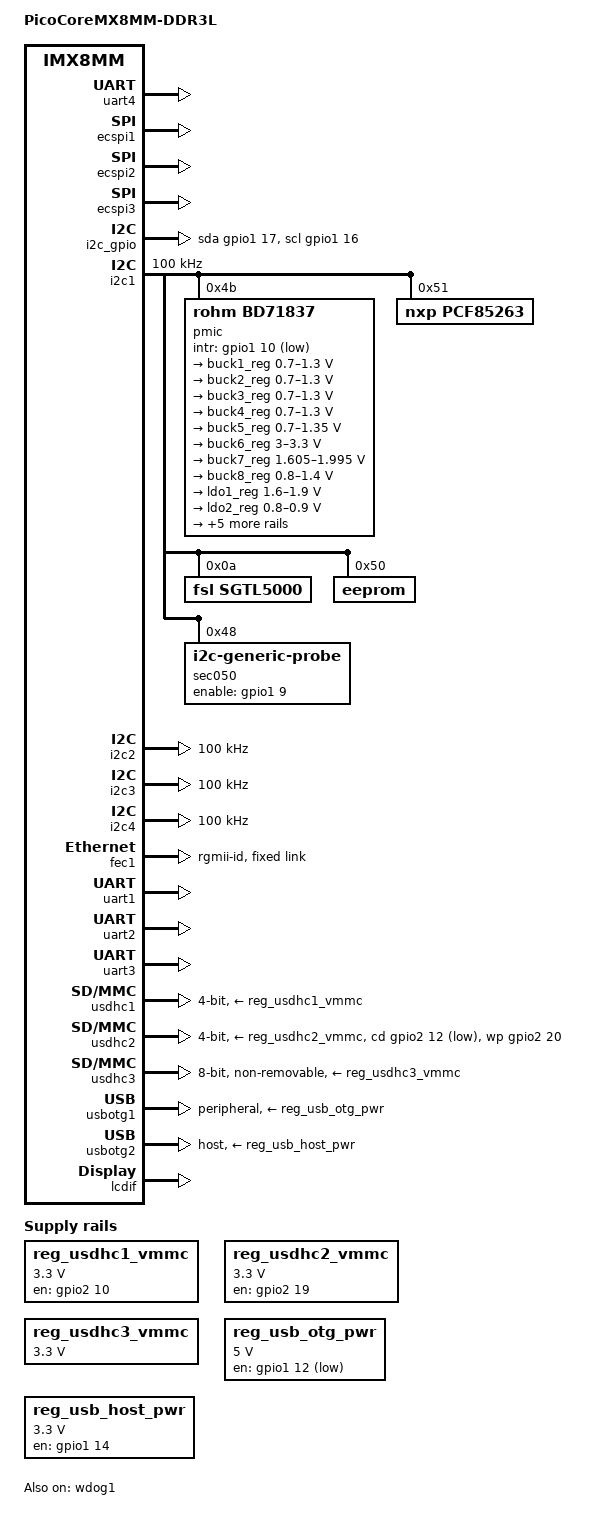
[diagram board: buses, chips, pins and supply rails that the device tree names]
/*
* Copyright 2019-2020 F&S Elektronik Systeme GmbH
*
* This program is free software; you can redistribute it and/or
* modify it under the terms of the GNU General Public License
* as published by the Free Software Foundation; either version 2
* of the License, or (at your option) any later version.
*
* This program is distributed in the hope that it will be useful,
* but WITHOUT ANY WARRANTY; without even the implied warranty of
* MERCHANTABILITY or FITNESS FOR A PARTICULAR PURPOSE.  See the
* GNU General Public License for more details.
*
* Remark:
* CONFIG names use "PICOCOREMX8MX" because this is the marking on the PCB.
* This will make it easier to merge the two device trees picocoremx8mm-ddr3l
* and picocoremx8mn-ddr3l in the future.
*/

/dts-v1/;

/* Set board revision as 3-digit number, e.g. 110 for board rev. 1.10 */
#define CONFIG_PICOCOREMX8MX_BOARD_REVISION	120

 /* Network */
/* Use FIXED_SPEED and LEGACY_ETH for now */
#define CONFIG_PICOCOREMX8MX_ETH

/* USB */
#define CONFIG_PICOCOREMX8MX_USB_OTG1
#define CONFIG_PICOCOREMX8MX_USB_HOST

/* I2C */
#define CONFIG_PICOCOREMX8MX_I2C_A
#define CONFIG_PICOCOREMX8MX_I2C_B
#define CONFIG_PICOCOREMX8MX_I2C_C
#define CONFIG_PICOCOREMX8MX_I2C_D

/* SPI */
#define CONFIG_PICOCOREMX8MX_SPI_A
#define CONFIG_PICOCOREMX8MX_SPI_B
#define CONFIG_PICOCOREMX8MX_SPI_C

/* UART_A - UART1 */
#define CONFIG_PICOCOREMX8MX_UART_A
#define CONFIG_PICOCOREMX8MX_UART_A_RTSCTS
#define CONFIG_PICOCOREMX8MX_UART_B
#define CONFIG_PICOCOREMX8MX_UART_C
#define CONFIG_PICOCOREMX8MX_UART_D


/*
 * SD_A - External SD port with Card Detect (CD) and Write Protect (WP)
 * On PicoCoreMX8MM SKIT: external port is Micro-SD card slot with CD but without WP
 */
#define CONFIG_PICOCOREMX8MX_SD_A
#define CONFIG_PICOCOREMX8MX_SD_A_CD
//#define CONFIG_PICOCOREMX8MX_SD_A_WP

/*
 * SD_B - External SD port with Card Detect (CD) and Write Protect (WP)
 * Not connected on PicoCoreMX8MM SKIT
 */
#define CONFIG_PICOCOREMX8MX_SD_B
#define CONFIG_PICOCOREMX8MX_SD_B_CD
#define CONFIG_PICOCOREMX8MX_SD_B_WP

/* TODO: Power polarity can't be set by DT
*  Default its low for both ports. Use regulator
*  to set pin value to correct state.
*/
/* USB0:
*  Enable regulator to activate
*  power pin for otg host devices.
*/
#define CONFIG_USB_OTG_PWR
/* USB1:
*  Enable regulator to activate power pin
*  for USB Hub.
*/
#define CONFIG_USB_HOST_PWR

#include "fsl-imx8mm.dtsi"

/ {
	model = "PicoCoreMX8MM-DDR3L";
	compatible = "fus,picocoremx8mm-ddr3l", "fsl,imx8mm";

	aliases {
		i2c4 = &i2c_gpio;
		emmc = &usdhc3;
		serial3 = &uart4;
		spi2 = &ecspi2;
	};

	config {
		/* Environment in NAND must match UBootEnv MTD partition */
		u-boot,nand-env-range = <0x00040000>;
		u-boot,nand-env-offset = <0x480000>;
		u-boot,nand-env-offset-redundant = <0x4c0000>;

		/* Environment in MMC is in a Boot partition by default */
		u-boot,mmc-env-offset = <0x100000>;
		u-boot,mmc-env-offset-redundant = <0x104000>;
	};

	chosen {
		bootargs = "console=ttymxc0,115200 earlycon=ec_imx6q,0x30860000,115200";
		stdout-path = &uart1;
	};

#ifdef CONFIG_PICOCOREMX8MX_SD_A
	reg_usdhc1_vmmc: regulator-usdhc1 {
		compatible = "regulator-fixed";
		regulator-name = "VSD1_3V3";
		regulator-min-microvolt = <3300000>;
		regulator-max-microvolt = <3300000>;
		gpio = <&gpio2 10 GPIO_ACTIVE_HIGH>;
		enable-active-high;
		startup-delay-us = <100>;
		off-on-delay-us = <12000>;
	};
#endif

#ifdef CONFIG_PICOCOREMX8MX_SD_B
	reg_usdhc2_vmmc: regulator-usdhc2 {
		compatible = "regulator-fixed";
		regulator-name = "VSD2_3V3";
		regulator-min-microvolt = <3300000>;
		regulator-max-microvolt = <3300000>;
		gpio = <&gpio2 19 GPIO_ACTIVE_HIGH>;
		enable-active-high;
		startup-delay-us = <100>;
		off-on-delay-us = <12000>;
	};
#endif

	reg_usdhc3_vmmc: regulator-usdhc3 {
		compatible = "regulator-fixed";
		regulator-name = "VSD3_3V3";
		regulator-min-microvolt = <3300000>;
		regulator-max-microvolt = <3300000>;
		regulator-always-on;
#if 0
		gpio = <&gpio3 16 GPIO_ACTIVE_HIGH>;
		enable-active-high;
		startup-delay-us = <100>;
		off-on-delay-us = <12000>;
#endif
	};

	regulators {
		compatible = "simple-bus";
		#address-cells = <1>;
		#size-cells = <0>;

		#ifdef CONFIG_USB_OTG_PWR
		reg_usb_otg_pwr: regulator-usbotg1 {
			pinctrl-names = "default";
			pinctrl-0 = <&pinctrl_usbotg1>;
			compatible = "regulator-fixed";
			regulator-name = "usb_otg_pwr";
			regulator-min-microvolt = <5000000>;
			regulator-max-microvolt = <5000000>;
			gpio = <&gpio1 12 GPIO_ACTIVE_LOW>;
			startup-delay-us = <100>;
			off-on-delay-us = <12000>;
		};
		#endif
		#ifdef CONFIG_USB_HOST_PWR
		reg_usb_host_pwr: regulator-usbotg2 {
			pinctrl-names = "default";
			pinctrl-0 = <&pinctrl_usbotg2>;
			compatible = "regulator-fixed";
			regulator-name = "usb_host_pwr";
			regulator-min-microvolt = <3300000>;
			regulator-max-microvolt = <3300000>;
			gpio = <&gpio1 14 GPIO_ACTIVE_HIGH>;
			enable-active-high;
		};
		#endif
	};
#ifdef CONFIG_PICOCOREMX8MX_UART_C
	uart4: serial@30a60000 {
		compatible = "fsl,imx8mm-uart",
			     "fsl,imx6q-uart", "fsl,imx21-uart";
		reg = <0x0 0x30a60000 0x0 0x10000>;
		interrupts = <GIC_SPI 29 IRQ_TYPE_LEVEL_HIGH>;
		interrupt-parent = <&gpc>;
		clocks = <&clk IMX8MM_CLK_UART4_ROOT>,
			 <&clk IMX8MM_CLK_UART4_ROOT>;
		clock-names = "ipg", "per";
		status = "disabled";
	};
#endif

#ifdef CONFIG_PICOCOREMX8MX_SPI_A
	ecspi1: spi@30820000 {
		compatible = "fsl,imx8mm-ecspi", "fsl,imx51-ecspi";
		reg = <0x0 0x30820000 0x0 0x10000>;
		interrupts = <GIC_SPI 31 IRQ_TYPE_LEVEL_HIGH>;
		clocks = <&clk IMX8MM_CLK_ECSPI1_ROOT>,
			 <&clk IMX8MM_CLK_ECSPI1_ROOT>;
		clock-names = "ipg", "per";
		status = "disabled";
	};
#endif
#ifdef CONFIG_PICOCOREMX8MX_SPI_C
	ecspi2: spi@30830000 {
		compatible = "fsl,imx8mm-ecspi", "fsl,imx51-ecspi";
		reg = <0x0 0x30830000 0x0 0x10000>;
		interrupts = <GIC_SPI 32 IRQ_TYPE_LEVEL_HIGH>;
		clocks = <&clk IMX8MM_CLK_ECSPI2_ROOT>,
			 <&clk IMX8MM_CLK_ECSPI2_ROOT>;
		clock-names = "ipg", "per";
		status = "disabled";
	};
#endif

#ifdef CONFIG_PICOCOREMX8MX_SPI_B
	ecspi3: spi@30840000 {
		compatible = "fsl,imx8mm-ecspi", "fsl,imx51-ecspi";
		reg = <0x0 0x30840000 0x0 0x10000>;
		interrupts = <GIC_SPI 33 IRQ_TYPE_LEVEL_HIGH>;
		clocks = <&clk IMX8MM_CLK_ECSPI3_ROOT>,
			 <&clk IMX8MM_CLK_ECSPI3_ROOT>;
		clock-names = "ipg", "per";
		status = "disabled";
	};
#endif


	/* Internal I2C (bitbanging) */
	i2c_gpio: i2c_gpio {
		#address-cells = <1>;
		#size-cells = <0>;

		pinctrl-names = "default";
		pinctrl-0 = <&pinctrl_i2c_gpio>;
		compatible = "i2c-gpio";
		gpios = <&gpio1 17 0 /* sda */
			 &gpio1 16 0 /* scl */
			>;
		i2c-gpio,delay-us = <2>;	/* ~100 kHz */
		status = "okay";
	};
};

#ifdef CONFIG_PICOCOREMX8MX_SPI_A
&ecspi1 {
	pinctrl-names = "gpiotest";
	pinctrl-0 = <&pinctrl_ecspi1_gpio>;
	/* cs-gpios must be declared */
	cs-gpios = <&gpio5 9 GPIO_ACTIVE_HIGH>;
	out-pins = "SPI_A_MISO", "SPI_A_SS0";
	out-gpios = <&gpio5 8 0>, <&gpio5 9 0>;
	in-pins = "SPI_A_MOSI", "SPI_A_SCLK";
	in-gpios = <&gpio5 7 0>, <&gpio5 6 0>;
	status = "okay";
};
#endif

#ifdef CONFIG_PICOCOREMX8MX_SPI_B
&ecspi3 {
	pinctrl-names = "gpiotest";
	pinctrl-0 = <&pinctrl_ecspi3_gpio>;
	cs-gpios = <&gpio5 22 GPIO_ACTIVE_HIGH>;
	out-pins = "SPI_B_MISO", "SPI_B_SS0";
	out-gpios = <&gpio5 24 0>, <&gpio5 22 0>;
	in-pins = "SPI_B_MOSI", "SPI_B_SCLK";
	in-gpios = <&gpio5 23 0>, <&gpio5 25 0>;
	status = "okay";
};
#endif

#ifdef CONFIG_PICOCOREMX8MX_SPI_C
&ecspi2 {
	pinctrl-names = "default", "gpiotest", "gpiotest-fert7", "gpiotest-fert8";
	pinctrl-0 = <&pinctrl_ecspi2>;
	pinctrl-1 = <&pinctrl_ecspi2_gpio>;
	pinctrl-2 = <&pinctrl_ecspi2_gpio_fert7>;
	pinctrl-3 = <&pinctrl_ecspi2_gpio_fert8>;
	fsl,spi-num-chipselects = <1>;

	cs-gpios = <&gpio5 13 GPIO_ACTIVE_HIGH>;
	spi-max-frequency = <1000000>;
	status = "okay";

	out-pins = "SPI_C_SS0", "SPI_C_MOSI";
	out-gpios = <&gpio5 13 0>, <&gpio5 11 0>;
	in-pins = "SPI_C_MISO", "SPI_C_SCLK";
	in-gpios = <&gpio5 12 0>, <&gpio5 10 0>;

	out-pins-fert7 = "SPI_C_SS0", "SPI_C_MOSI", "PWM", "GPIO_J2_73";
	out-gpios-fert7 = <&gpio5 13 0>, <&gpio5 11 0>, <&gpio5 5 0>, <&gpio4 26 0>;
	in-pins-fert7 = "SPI_C_MISO", "SPI_C_SCLK", "GPIO_J2_69", "GPIO_J2_75";
	in-gpios-fert7 = <&gpio5 12 0>, <&gpio5 10 0>, <&gpio4 25 0>, <&gpio4 28 0>;

	out-pins-fert8 = "SPI_C_SS0", "SPI_C_MOSI", "PWM", "GPIO_J2_73";
	out-gpios-fert8 = <&gpio5 13 0>, <&gpio5 11 0>, <&gpio5 5 0>, <&gpio4 26 0>;
	in-pins-fert8 = "SPI_C_MISO", "SPI_C_SCLK", "GPIO_J2_69", "GPIO_J2_75";
	in-gpios-fert8 = <&gpio5 12 0>, <&gpio5 10 0>, <&gpio4 25 0>, <&gpio4 28 0>;

	can-spi-mcp251x;
	cs = <0x0>;
};
#endif

&gpio1 {
	pinctrl-names = "gpiotest","gpiotest-fert7","gpiotest-fert8";
	pinctrl-0 = <&pinctrl_gpio1>;
	pinctrl-0 = <&pinctrl_gpio1_fert7>;
	pinctrl-0 = <&pinctrl_gpio1_fert8>;

	out-pins = "GPIO_J1_2", "BL_ON", "MPCIE_PERST", "PWM", "GPIO_J2_75", "GPIO_J2_65", "GPIO_J2_77";
	out-gpios = <&gpio1 13 0>, <&gpio5 3 0>, <&gpio3 19 0>, <&gpio5 5 0>, <&gpio4 2 0>, <&gpio4 20 0>, <&gpio4 0 0>;
	in-pins = "GPIO_J1_7", "VLCD_ON", "MPCIE_WAKE", "GPIO_J2_69", "GPIO_J2_73", "GPIO_J2_67", "GPIO_J2_79";
	in-gpios = <&gpio1 1 0>, <&gpio5 1 0>, <&gpio3 20 0>, <&gpio4 11 0>, <&gpio4 12 0>, <&gpio4 10 0> ,<&gpio4 1 0>;

	out-pins-fert7 = "GPIO_J1_2", "BL_ON", "MPCIE_PERST";
	out-gpios-fert7 = <&gpio1 13 0>, <&gpio5 3 0>, <&gpio3 19 0>;
	in-pins-fert7 = "GPIO_J1_7", "VLCD_ON", "MPCIE_WAKE";
	in-gpios-fert7 = <&gpio1 1 0>, <&gpio5 1 0>, <&gpio3 20 0>;

	out-pins-fert8 = "GPIO_J1_2", "BL_ON", "MPCIE_PERST";
	out-gpios-fert8 = <&gpio1 13 0>, <&gpio5 3 0>, <&gpio3 19 0>;
	in-pins-fert8 = "GPIO_J1_7", "VLCD_ON", "MPCIE_WAKE";
	in-gpios-fert8 = <&gpio1 1 0>, <&gpio5 1 0>, <&gpio3 20 0>;

	status = "okay";
};

&gpio2 {
	pinctrl-names = "gpiotest";
	pinctrl-0 = <&pinctrl_gpio2>;
	out-pins = "GPIO_J1_54";
	out-gpios = <&gpio1 15 0>;
	in-pins = "GPIO_J1_52";
	in-gpios = <&gpio1 8 0>;
	status = "okay";

	mipi-gpios-only;
};

&gpio3 {
	pinctrl-names = "gpiotest";
	pinctrl-0 = <&pinctrl_gpio3>;
	out-pins = "GPIO_J2_77";
	out-gpios = <&gpio4 0 0>;
	in-pins = "GPIO_J2_79";
	in-gpios = <&gpio4 1 0>;
	status = "okay";

	lvds-gpios-only;
};


#ifdef CONFIG_PICOCOREMX8MX_I2C_D
&i2c1 {
	clock-frequency = <100000>;
	pinctrl-names = "default", "gpiotest";
	pinctrl-0 = <&pinctrl_i2c1>;
	pinctrl-1 = <&pinctrl_sgtl5000_gpio>;
	status = "okay";

	out-pins = "AUDIO_A_LOUT_L", "AUDIO_A_HP_L";
	out-gpios = <&gpio3 23 0>, <&gpio3 24 0>;
	in-pins = "AUDIO_A_LIN_L", "AUDIO_A_HP_R";
	in-gpios = <&gpio3 25 0>, <&gpio3 21 0>;

	pmic: bd71837@4b {
		reg = <0x4b>;
		compatible = "rohm,bd71837";
		pinctrl-0 = <&pinctrl_pmic>;
		/* PMIC BD71837 PMIC_nINT GPIO1_IO10 */
		gpio_intr = <&gpio1 10 GPIO_ACTIVE_LOW>;

		gpo {
			rohm,drv = <0x0C>;	/* 0b0000_1100 all gpos with cmos output mode */
		};

		regulators {
			#address-cells = <1>;
			#size-cells = <0>;

			bd71837,pmic-buck2-uses-i2c-dvs;
			bd71837,pmic-buck2-dvs-voltage = <1000000>, <900000>, <0>; /* VDD_ARM: Run-Idle */

			buck1_reg: regulator@0 {
				reg = <0>;
				regulator-compatible = "buck1";
				regulator-min-microvolt = <700000>;
				regulator-max-microvolt = <1300000>;
				regulator-boot-on;
				regulator-always-on;
				regulator-ramp-delay = <1250>;
			};

			buck2_reg: regulator@1 {
				reg = <1>;
				regulator-compatible = "buck2";
				regulator-min-microvolt = <700000>;
				regulator-max-microvolt = <1300000>;
				regulator-boot-on;
				regulator-always-on;
				regulator-ramp-delay = <1250>;
			};

			buck3_reg: regulator@2 {
				reg = <2>;
				regulator-compatible = "buck3";
				regulator-min-microvolt = <700000>;
				regulator-max-microvolt = <1300000>;
			};

			buck4_reg: regulator@3 {
				reg = <3>;
				regulator-compatible = "buck4";
				regulator-min-microvolt = <700000>;
				regulator-max-microvolt = <1300000>;
			};

			buck5_reg: regulator@4 {
				reg = <4>;
				regulator-compatible = "buck5";
				regulator-min-microvolt = <700000>;
				regulator-max-microvolt = <1350000>;
				regulator-boot-on;
				regulator-always-on;
			};

			buck6_reg: regulator@5 {
				reg = <5>;
				regulator-compatible = "buck6";
				regulator-min-microvolt = <3000000>;
				regulator-max-microvolt = <3300000>;
				regulator-boot-on;
				regulator-always-on;
			};

			buck7_reg: regulator@6 {
				reg = <6>;
				regulator-compatible = "buck7";
				regulator-min-microvolt = <1605000>;
				regulator-max-microvolt = <1995000>;
				regulator-boot-on;
				regulator-always-on;
			};

			buck8_reg: regulator@7 {
				reg = <7>;
				regulator-compatible = "buck8";
				regulator-min-microvolt = <800000>;
				regulator-max-microvolt = <1400000>;
				regulator-boot-on;
				regulator-always-on;
			};

			ldo1_reg: regulator@8 {
				reg = <8>;
				regulator-compatible = "ldo1";
				regulator-min-microvolt = <1600000>;
				regulator-max-microvolt = <1900000>;
				regulator-boot-on;
				regulator-always-on;
			};

			ldo2_reg: regulator@9 {
				reg = <9>;
				regulator-compatible = "ldo2";
				regulator-min-microvolt = <800000>;
				regulator-max-microvolt = <900000>;
				regulator-boot-on;
				regulator-always-on;
			};

			ldo3_reg: regulator@10 {
				reg = <10>;
				regulator-compatible = "ldo3";
				regulator-min-microvolt = <1800000>;
				regulator-max-microvolt = <3300000>;
				regulator-boot-on;
				regulator-always-on;
			};

			ldo4_reg: regulator@11 {
				reg = <11>;
				regulator-compatible = "ldo4";
				regulator-min-microvolt = <900000>;
				regulator-max-microvolt = <1800000>;
				regulator-boot-on;
				regulator-always-on;
			};

			ldo5_reg: regulator@12 {
				reg = <12>;
				regulator-compatible = "ldo5";
				regulator-min-microvolt = <1800000>;
				regulator-max-microvolt = <3300000>;
			};

			ldo6_reg: regulator@13 {
				reg = <13>;
				regulator-compatible = "ldo6";
				regulator-min-microvolt = <900000>;
				regulator-max-microvolt = <1800000>;
				regulator-boot-on;
				regulator-always-on;
			};

			ldo7_reg: regulator@14 {
				reg = <14>;
				regulator-compatible = "ldo7";
				regulator-min-microvolt = <1800000>;
				regulator-max-microvolt = <3300000>;
			};
		};
	};

	pcf85263@51 {
		compatible = "nxp,pcf85263";
		quartz-load-capacitance = <0x2>; /* 12.5 pF */
		reg = <0x51>;
		status = "okay";
	};

	sgtl5000: sgtl5000@0a {
		compatible = "fsl,sgtl5000";
		/* MCLK is needed for i2c sgtl driver */
		pinctrl-names = "default";
		pinctrl-0 = <&pinctrl_sgtl5000>;
		sai = <&sai5>;
		reg = <0x0a>;
		status = "okay";
	};

	/* EEPROM */
	eeprom: eeprom@50 {
		reg = <0x50>;
		status = "okay";
	};

	/* Security Chip */
	sec050: sec050@48 {
		compatible = "i2c-generic-probe";
		pinctrl-names = "default";
		pinctrl-0 = <&pinctrl_sec050>;
	    enable-gpio = <&gpio1 9 GPIO_ACTIVE_HIGH>;

		reg = <0x48>;
		status = "okay";
	};
};
#endif

#ifdef CONFIG_PICOCOREMX8MX_I2C_B
&i2c2 {
	clock-frequency = <100000>;
	pinctrl-names = "default";
	pinctrl-0 = <&pinctrl_i2c2>;
	status = "okay";
};
#endif

#ifdef CONFIG_PICOCOREMX8MX_I2C_C
&i2c3 {
	clock-frequency = <100000>;
	pinctrl-names = "default", "gpiotest";
	pinctrl-0 = <&pinctrl_i2c3>;
	pinctrl-1 = <&pinctrl_i2c3_gpio>;
    out-pins = "I2C_C_SCL";
    out-gpios = <&gpio5 18 0>;
    in-pins = "I2C_C_SDA";
    in-gpios = <&gpio5 19 0>;
	status = "okay";
};
#endif

#ifdef CONFIG_PICOCOREMX8MX_I2C_A
&i2c4 {
	clock-frequency = <100000>;
	pinctrl-names = "default", "gpiotest";
	pinctrl-0 = <&pinctrl_i2c4>;
	pinctrl-1 = <&pinctrl_i2c4_gpio>;
	out-pins = "I2C_A_SDA";
	out-gpios = <&gpio5 21 0>;
	in-pins = "I2C_A_SCL";
	in-gpios = <&gpio5 20 0>;
	status = "okay";
};
#endif

#ifdef CONFIG_PICOCOREMX8MX_ETH
&fec1 {
	pinctrl-names = "default";
	pinctrl-0 = <&pinctrl_fec1>;
	phy-mode = "rgmii-id";
	/* reset is done in board file, it needs to be done there
	 * because of the strapping pins
	 */
	//phy-reset-gpios = <&gpio1 5 GPIO_ACTIVE_LOW>;
	//phy-reset-duration = <10>;
	//phy-reset-post-delay=<1>;
	fsl,magic-packet;
	status = "okay";

	fixed-link {
		speed = <1000>;
		full-duplex;
	};
};
#endif

#ifdef CONFIG_PICOCOREMX8MX_UART_A
&uart1 { /* console */
	pinctrl-names = "default", "mute";
	pinctrl-0 = <&pinctrl_uart1>;
	pinctrl-1 = <&pinctrl_uart1_gpio>;

	out-pins = "UART_A_CTS";
	out-gpios = <&gpio4 23 0>;
	in-pins = "UART_A_RTS";
	in-gpios =  <&gpio4 24 0>;
	status = "okay";
	port-name="uart1";
	debug-port;
};
#endif

#ifdef CONFIG_PICOCOREMX8MX_UART_B
&uart2 { /* console */
	pinctrl-names = "default", "mute";
	pinctrl-0 = <&pinctrl_uart2>;
	pinctrl-1 = <&pinctrl_uart2_gpio>;
	out-pins = "UART_B_CTS";
	out-gpios = <&gpio4 30 0>;
	in-pins = "UART_B_RTS";
	in-gpios =  <&gpio4 29 0>;
	status = "okay";
	port-name="uart2";
};
#endif

#ifdef CONFIG_PICOCOREMX8MX_UART_C
&uart4 { /* console */
	pinctrl-names = "default", "mute";
	pinctrl-0 = <&pinctrl_uart4>;
	pinctrl-1 = <&pinctrl_uart4_gpio>;
	status = "okay";
	port-name="uart4";
};
#endif

#ifdef CONFIG_PICOCOREMX8MX_UART_D
&uart3 { /* console */
	pinctrl-names = "default", "mute";
	pinctrl-0 = <&pinctrl_uart3>;
	pinctrl-1 = <&pinctrl_uart3_gpio>;
	status = "okay";
	port-name="uart3";
};
#endif

#ifdef CONFIG_PICOCOREMX8MX_SD_A
&usdhc1 {
	pinctrl-names = "default", "state_100mhz", "state_200mhz", "gpiotest";
	pinctrl-0 = <&pinctrl_usdhc1>, <&pinctrl_usdhc1_gpio>;
	pinctrl-1 = <&pinctrl_usdhc1_100mhz>, <&pinctrl_usdhc1_gpio>;
	pinctrl-2 = <&pinctrl_usdhc1_200mhz>, <&pinctrl_usdhc1_gpio>;
	pinctrl-3 = <&pinctrl_usdhc1_testgpio>;
	bus-width = <4>;
#ifdef CONFIG_PICOCOREMX8MX_SD_A_CD
	//cd-gpios = <&gpio1 6 GPIO_ACTIVE_LOW>;
#endif
#ifdef CONFIG_PICOCOREMX8MX_SD_A_WP
	//wp-gpios = <&gpio1 7 GPIO_ACTIVE_HIGH>;
#endif
	/* reset pin will used as vmmc supply */
	vmmc-supply = <&reg_usdhc1_vmmc>;
	out-pins = "SD_A_CMD", "SD_A_CD", "SD_A_WP", "SD_A_DATA0", "SD_A_DATA2", "SD_A_DATA4", "SD_A_DATA6";
	out-gpios = <&gpio2 1 0>, <&gpio1 6 0>, <&gpio1 7 0>, <&gpio2 2 0>, <&gpio2 4 0>, <&gpio2 6 0>, <&gpio2 8 0>;
	in-pins = "SD_A_CLK", "SD_A_RST", "SD_B_WP", "SD_A_DATA1", "SD_A_DATA3", "SD_A_DATA5", "SD_A_DATA7";
	in-gpios = <&gpio2 0 0>, <&gpio2 10 0>, <&gpio2 20 0>, <&gpio2 3 0>, <&gpio2 5 0>, <&gpio2 7 0>, <&gpio2 9 0>;
	status = "okay";
//	is-sdcard;
};
#endif

#ifdef CONFIG_PICOCOREMX8MX_SD_B
&usdhc2 {
	pinctrl-names = "default", "state_100mhz", "state_200mhz", "gpiotest";
	pinctrl-0 = <&pinctrl_usdhc2>, <&pinctrl_usdhc2_gpio>;
	pinctrl-1 = <&pinctrl_usdhc2_100mhz>, <&pinctrl_usdhc2_gpio>;
	pinctrl-2 = <&pinctrl_usdhc2_200mhz>, <&pinctrl_usdhc2_gpio>;
	pinctrl-3 = <&pinctrl_usdhc2_testgpio>;
	bus-width = <4>;
#ifdef CONFIG_PICOCOREMX8MX_SD_B_CD
	cd-gpios = <&gpio2 12 GPIO_ACTIVE_LOW>;
#endif
#ifdef CONFIG_PICOCOREMX8MX_SD_B_WP
	wp-gpios = <&gpio2 20 GPIO_ACTIVE_HIGH>;
#endif
	/* reset pin will used as vmmc supply */
	vmmc-supply = <&reg_usdhc2_vmmc>;
	out-pins = "SD_B_CMD", "SD_B_RST", "SD_B_DATA0", "SD_B_DATA2";
	out-gpios = <&gpio2 14 0>, <&gpio2 19 0>, <&gpio2 15 0>, <&gpio2 17 0>;
	in-pins = "SD_B_CLK", "SD_B_CD", "SD_B_DATA1", "SD_B_DATA3";
	in-gpios = <&gpio2 13 0>,<&gpio2 12 0>, <&gpio2 16 0>, <&gpio2 18 0>;
	status = "okay";
};
#endif

&usdhc3 {
	pinctrl-names = "default", "state_100mhz", "state_200mhz";
	pinctrl-0 = <&pinctrl_usdhc3>;
	pinctrl-1 = <&pinctrl_usdhc3_100mhz>;
	pinctrl-2 = <&pinctrl_usdhc3_200mhz>;
	bus-width = <8>;
	non-removable;
	vmmc-supply = <&reg_usdhc3_vmmc>;
	status = "okay";
	is-emmc;
};

&wdog1 {
	pinctrl-names = "default";
	pinctrl-0 = <&pinctrl_wdog>;
	fsl,ext-reset-output;
	status = "okay";
};

&A53_0 {
	arm-supply = <&buck2_reg>;
};

#ifdef CONFIG_PICOCOREMX8MX_USB_OTG1
&usbotg1 {
	dr_mode = "peripheral";
	#ifdef CONFIG_USB_OTG_PWR
	vbus-supply = <&reg_usb_otg_pwr>;
	#else
	pinctrl-names = "default";
	pinctrl-0 = <&pinctrl_usbotg1>;
	#endif
	status = "okay";
};
#endif

#ifdef CONFIG_PICOCOREMX8MX_USB_HOST
&usbotg2 {
	dr_mode = "host";
	#ifdef CONFIG_USB_HOST_PWR
	vbus-supply = <&reg_usb_host_pwr>;
	#else
	pinctrl-names = "default";
	pinctrl-0 = <&pinctrl_usbotg2>;
	#endif
	status = "okay";
};
#endif

&lcdif {
	status = "okay";
};

&iomuxc {
	pinctrl-names = "default";
	pinctrl-0 = <&pinctrl_hog_1>;

	picocoremx8mn-ddr3l {
		pinctrl_hog_1: hoggrp-1 {
			fsl,pins = <
				/* LVDS_RST */
				MX8MM_IOMUXC_GPIO1_IO08_GPIO1_IO8	0x00019
				/* CLKO2 -> EXTCLK */
				MX8MM_IOMUXC_GPIO1_IO15_CCMSRCGPCMIX_CLKO2	0x00059
			>;
		};

#ifdef CONFIG_PICOCOREMX8MX_ETH
		pinctrl_fec1: fec1grp {
			fsl,pins = <
				MX8MM_IOMUXC_ENET_TD3_ENET1_RGMII_TD3	0x0001f
				MX8MM_IOMUXC_ENET_TD2_ENET1_RGMII_TD2	0x0001f
				MX8MM_IOMUXC_ENET_TD1_ENET1_RGMII_TD1	0x0001f
				MX8MM_IOMUXC_ENET_TD0_ENET1_RGMII_TD0	0x0001f
				MX8MM_IOMUXC_ENET_RD3_ENET1_RGMII_RD3	0x00091
				MX8MM_IOMUXC_ENET_RD2_ENET1_RGMII_RD2	0x00091
				MX8MM_IOMUXC_ENET_RD1_ENET1_RGMII_RD1	0x00091
				MX8MM_IOMUXC_ENET_RD0_ENET1_RGMII_RD0	0x00091
				MX8MM_IOMUXC_ENET_TXC_ENET1_RGMII_TXC	0x0001f
				MX8MM_IOMUXC_ENET_RXC_ENET1_RGMII_RXC	0x00091
				MX8MM_IOMUXC_ENET_RX_CTL_ENET1_RGMII_RX_CTL	0x00091
				MX8MM_IOMUXC_ENET_TX_CTL_ENET1_RGMII_TX_CTL	0x0001f
				/* ETH_SW_RST  */
				MX8MM_IOMUXC_GPIO1_IO05_GPIO1_IO5	0x00019
				/* ETH_SW_INTn  */
				MX8MM_IOMUXC_GPIO1_IO11_GPIO1_IO11	0x00064
			>;
		};
#endif

		pinctrl_gpio1: gpio1grp {
			fsl,pins = <
				/* GPIO_J1_2 -> GPIO_J1_7 */
				MX8MM_IOMUXC_GPIO1_IO13_GPIO1_IO13			0x400001c3
				MX8MM_IOMUXC_GPIO1_IO01_GPIO1_IO1			0x00029
				/* BL_ON -> VLCD_ON */
				MX8MM_IOMUXC_SPDIF_TX_GPIO5_IO3				0x400001c3
				MX8MM_IOMUXC_SAI3_TXD_GPIO5_IO1				0x00029
				/* MPCIE_PERST -> MPCIE_WAKE */
				MX8MM_IOMUXC_SAI5_RXFS_GPIO3_IO19			0x400001c3
				MX8MM_IOMUXC_SAI5_RXC_GPIO3_IO20			0x00029
				/* PWM -> GPIO_J2_69 */
				MX8MM_IOMUXC_SPDIF_EXT_CLK_GPIO5_IO5		0x400001c3
				MX8MM_IOMUXC_SAI1_TXC_GPIO4_IO11			0x00029
				/* GPIO_J2_73 -> GPIO_J2_75 */
				MX8MM_IOMUXC_SAI1_RXD0_GPIO4_IO2			0x400001c3
				MX8MM_IOMUXC_SAI1_TXD0_GPIO4_IO12			0x00029
				/* GPIO_J2_77 -> GPIO_J2_79 */
				MX8MM_IOMUXC_SAI1_RXFS_GPIO4_IO0			0x400001c3
				MX8MM_IOMUXC_SAI1_RXC_GPIO4_IO1				0x00029
				/* GPIO_J2_65 -> GPIO_J2_67 */
				MX8MM_IOMUXC_SAI1_MCLK_GPIO4_IO20			0x400001c3
				MX8MM_IOMUXC_SAI1_TXFS_GPIO4_IO10			0x00029
			>;
		};

		pinctrl_gpio1_fert7: gpio1fert7grp {
			fsl,pins = <
				/* GPIO_J1_2 -> GPIO_J1_7 */
				MX8MM_IOMUXC_GPIO1_IO13_GPIO1_IO13				0x400001c3
				MX8MM_IOMUXC_GPIO1_IO01_GPIO1_IO1				0x00029
				/* MPCIE_PERST -> MPCIE_WAKE */
				MX8MM_IOMUXC_SAI5_RXFS_GPIO3_IO19				0x400001c3
				MX8MM_IOMUXC_SAI5_RXC_GPIO3_IO20				0x00029
				/* BL_ON -> VLCD_ON */
				MX8MM_IOMUXC_SPDIF_TX_GPIO5_IO3					0x400001c3
				MX8MM_IOMUXC_SAI3_TXD_GPIO5_IO1					0x00029
			>;
		};

		pinctrl_gpio1_fert8: gpio1fert8grp {
			fsl,pins = <
				/* GPIO_J1_2 -> GPIO_J1_7 */
				MX8MM_IOMUXC_GPIO1_IO13_GPIO1_IO13				0x400001c3
				MX8MM_IOMUXC_GPIO1_IO01_GPIO1_IO1				0x00029
				/* MPCIE_PERST -> MPCIE_WAKE */
				MX8MM_IOMUXC_SAI5_RXFS_GPIO3_IO19				0x400001c3
				MX8MM_IOMUXC_SAI5_RXC_GPIO3_IO20				0x00029
				/* BL_ON -> VLCD_ON */
				MX8MM_IOMUXC_SPDIF_TX_GPIO5_IO3					0x400001c3
				MX8MM_IOMUXC_SAI3_TXD_GPIO5_IO1					0x00029
			>;
		};

		/* Only the GPIOs for MIPI */
		pinctrl_gpio2: gpio2grp {
			fsl,pins = <
				/* GPIO_J1_54 -> GPIO_J1_52 */
				MX8MM_IOMUXC_GPIO1_IO15_GPIO1_IO15				0x400001c3
				MX8MM_IOMUXC_GPIO1_IO08_GPIO1_IO8				0x00029
			>;
		};

		/* Only the GPIOs for LVDS */
		pinctrl_gpio3: gpio3grp {
			fsl,pins = <
				/* GPIO_J2_77 -> GPIO_J2_79 */
				MX8MM_IOMUXC_SAI1_RXFS_GPIO4_IO0				0x400001c3
				MX8MM_IOMUXC_SAI1_RXC_GPIO4_IO1					0x00029
			>;
		};


#ifdef CONFIG_PICOCOREMX8MX_I2C_D
		pinctrl_i2c1: i2c1grp {
			fsl,pins = <
				MX8MM_IOMUXC_I2C1_SCL_I2C1_SCL		0x400001c3
				MX8MM_IOMUXC_I2C1_SDA_I2C1_SDA		0x400001c3
			>;
		};

		pinctrl_sec050: sec050grp {
			fsl,pins = <
				MX8MM_IOMUXC_GPIO1_IO09_GPIO1_IO9	0x00041
			>;
		};

		pinctrl_pmic: pmicirq {
			fsl,pins = <
				MX8MM_IOMUXC_GPIO1_IO10_GPIO1_IO10	0x00041
			>;
		};
#endif

#ifdef CONFIG_PICOCOREMX8MX_I2C_B
		pinctrl_i2c2: i2c2grp {
			fsl,pins = <
				MX8MM_IOMUXC_I2C2_SCL_I2C2_SCL		0x400001c3
				MX8MM_IOMUXC_I2C2_SDA_I2C2_SDA		0x400001c3
			>;
		};
#endif

#ifdef CONFIG_PICOCOREMX8MX_I2C_C
		pinctrl_i2c3: i2c3grp {
			fsl,pins = <
				MX8MM_IOMUXC_I2C3_SCL_I2C3_SCL		0x400001c3
				MX8MM_IOMUXC_I2C3_SDA_I2C3_SDA		0x400001c3
			>;
		};
		pinctrl_i2c3_gpio: i2c3gpiogrp {
			fsl,pins = <
				MX8MM_IOMUXC_I2C3_SCL_GPIO5_IO18			0x119
				MX8MM_IOMUXC_I2C3_SDA_GPIO5_IO19			0x119
			>;
		};
#endif

#ifdef CONFIG_PICOCOREMX8MX_I2C_A
		pinctrl_i2c4: i2c4grp {
			fsl,pins = <
				MX8MM_IOMUXC_I2C4_SCL_I2C4_SCL		0x400001c3
				MX8MM_IOMUXC_I2C4_SDA_I2C4_SDA		0x400001c3
			>;
		};

		pinctrl_i2c4_gpio: i2c4gpiogrp {
			fsl,pins = <
				MX8MM_IOMUXC_I2C4_SCL_GPIO5_IO20				0x400001c3
				MX8MM_IOMUXC_I2C4_SDA_GPIO5_IO21				0x00029
			>;
		};
#endif

		pinctrl_i2c_gpio: i2c_gpio_grp {
			fsl,pins = <
				MX8MM_IOMUXC_ENET_MDC_GPIO1_IO16	0x400001c2
				MX8MM_IOMUXC_ENET_MDIO_GPIO1_IO17	0x400001c2
			>;
		};
#ifdef CONFIG_PICOCOREMX8MX_SPI_A
		pinctrl_ecspi1_gpio: ecspi1gpiogrp {
			fsl,pins = <
				MX8MM_IOMUXC_ECSPI1_SCLK_GPIO5_IO6				0x400001c3
				MX8MM_IOMUXC_ECSPI1_MOSI_GPIO5_IO7				0x00029
				MX8MM_IOMUXC_ECSPI1_MISO_GPIO5_IO8				0x400001c3
				MX8MM_IOMUXC_ECSPI1_SS0_GPIO5_IO9				0x00029
			>;
		};
#endif

#ifdef CONFIG_PICOCOREMX8MX_SPI_B
		pinctrl_ecspi3: ecspi3grp {
			fsl,pins = <
				MX8MM_IOMUXC_UART1_RXD_ECSPI3_SCLK				0x400001c3
				MX8MM_IOMUXC_UART1_TXD_ECSPI3_MOSI				0x400001c3
				MX8MM_IOMUXC_UART2_RXD_ECSPI3_MISO				0x400001c3
				MX8MM_IOMUXC_UART2_TXD_ECSPI3_SS0				0x400001c3
			>;
		};

		pinctrl_ecspi3_gpio: ecspi3gpiogrp {
			fsl,pins = <
				MX8MM_IOMUXC_UART1_RXD_GPIO5_IO22				0x400001c3
				MX8MM_IOMUXC_UART1_TXD_GPIO5_IO23				0x00029
				MX8MM_IOMUXC_UART2_RXD_GPIO5_IO24				0x400001c3
				MX8MM_IOMUXC_UART2_TXD_GPIO5_IO25				0x00029
			>;
		};
#endif

#ifdef CONFIG_PICOCOREMX8MX_SPI_C
		pinctrl_ecspi2: ecspi2grp {
			fsl,pins = <
				MX8MM_IOMUXC_ECSPI2_SCLK_ECSPI2_SCLK		0x00082
				MX8MM_IOMUXC_ECSPI2_MOSI_ECSPI2_MOSI		0x00082
				MX8MM_IOMUXC_ECSPI2_MISO_ECSPI2_MISO		0x00082
				MX8MM_IOMUXC_ECSPI2_SS0_GPIO5_IO13			0x00144
			>;

		};

		pinctrl_ecspi2_gpio: ecspi2gpiogrp {
			fsl,pins = <
				/* USB_OTG_TYPEC_VACK -> USB_OTG_SS_SDA */
				MX8MM_IOMUXC_ECSPI2_SS0_GPIO5_IO13			0x400001c3
				MX8MM_IOMUXC_ECSPI2_MISO_GPIO5_IO12			0x00029
				/* USB_OTG_SS_SCL -> USB_OTG_SS_INT */
				MX8MM_IOMUXC_ECSPI2_MOSI_GPIO5_IO11			0x400001c3
				MX8MM_IOMUXC_ECSPI2_SCLK_GPIO5_IO10			0x00029
			>;

		};

		pinctrl_ecspi2_gpio_fert7: ecspi2fert7gpiogrp {
			fsl,pins = <
				/* USB_OTG_TYPEC_VACK -> USB_OTG_SS_SDA */
				MX8MM_IOMUXC_ECSPI2_SS0_GPIO5_IO13			0x400001c3
				MX8MM_IOMUXC_ECSPI2_MISO_GPIO5_IO12			0x00029
				/* USB_OTG_SS_SCL -> USB_OTG_SS_INT */
				MX8MM_IOMUXC_ECSPI2_MOSI_GPIO5_IO11			0x400001c3
				MX8MM_IOMUXC_ECSPI2_SCLK_GPIO5_IO10			0x00029
				/* PWM -> GPIO_J2_69 */
				MX8MM_IOMUXC_SPDIF_EXT_CLK_GPIO5_IO5		0x400001c3
				MX8MM_IOMUXC_SAI2_TXC_GPIO4_IO25			0x00029
				/* GPIO_J2_73 -> GPIO_J2_75 */
				MX8MM_IOMUXC_SAI2_TXD0_GPIO4_IO26			0x400001c3
				MX8MM_IOMUXC_SAI3_RXFS_GPIO4_IO28			0x00029
			>;

		};

		pinctrl_ecspi2_gpio_fert8: ecspi2fert8gpiogrp {
			fsl,pins = <
				/* USB_OTG_TYPEC_VACK -> USB_OTG_SS_SDA */
				MX8MM_IOMUXC_ECSPI2_SS0_GPIO5_IO13			0x400001c3
				MX8MM_IOMUXC_ECSPI2_MISO_GPIO5_IO12			0x00029
				/* USB_OTG_SS_SCL -> USB_OTG_SS_INT */
				MX8MM_IOMUXC_ECSPI2_MOSI_GPIO5_IO11			0x400001c3
				MX8MM_IOMUXC_ECSPI2_SCLK_GPIO5_IO10			0x00029
				/* PWM -> GPIO_J2_69 */
				MX8MM_IOMUXC_SPDIF_EXT_CLK_GPIO5_IO5		0x400001c3
				MX8MM_IOMUXC_SAI2_TXC_GPIO4_IO25			0x00029
				/* GPIO_J2_73 -> GPIO_J2_75 */
				MX8MM_IOMUXC_SAI2_TXD0_GPIO4_IO26			0x400001c3
				MX8MM_IOMUXC_SAI3_RXFS_GPIO4_IO28			0x00029
			>;

		};
#endif

#ifdef CONFIG_PICOCOREMX8MX_UART_A
		pinctrl_uart1: uart1grp {
			fsl,pins = <
				MX8MM_IOMUXC_SAI2_RXFS_UART1_DCE_TX			0x00049
				MX8MM_IOMUXC_SAI2_RXC_UART1_DCE_RX			0x00049

				/* UART_A_CTS -> UART_A_RTS*/
				MX8MM_IOMUXC_SAI2_RXD0_GPIO4_IO23			0x400001c3
				MX8MM_IOMUXC_SAI2_TXFS_GPIO4_IO24			0x00029
			>;
		};

		pinctrl_uart1_gpio: uart1gpiogrp {
			fsl,pins = <
				MX8MM_IOMUXC_SAI2_RXFS_GPIO4_IO21			0x00149
				MX8MM_IOMUXC_SAI2_RXC_GPIO4_IO22			0x00149
			>;
		};
#endif

#ifdef CONFIG_PICOCOREMX8MX_UART_B
		pinctrl_uart2: uart2grp {
			fsl,pins = <
				MX8MM_IOMUXC_SAI3_TXC_UART2_DCE_TX			0x00049
				MX8MM_IOMUXC_SAI3_TXFS_UART2_DCE_RX			0x00049

				/* UART_B_CTS -> UART_B_RTS*/
				MX8MM_IOMUXC_SAI3_RXC_GPIO4_IO29			0x400001c3
				MX8MM_IOMUXC_SAI3_RXD_GPIO4_IO30			0x00029
			>;
		};

		pinctrl_uart2_gpio: uart2gpiogrp {
			fsl,pins = <
				MX8MM_IOMUXC_SAI3_TXC_GPIO5_IO0				0x00149
				MX8MM_IOMUXC_SAI3_TXFS_GPIO4_IO31			0x00149
			>;
		};
#endif

#ifdef CONFIG_PICOCOREMX8MX_UART_C
		pinctrl_uart4: uart4grp {
			fsl,pins = <
				MX8MM_IOMUXC_UART4_TXD_UART4_DCE_TX			0x00049
				MX8MM_IOMUXC_UART4_RXD_UART4_DCE_RX			0x00049
			>;
		};

		pinctrl_uart4_gpio: uart4gpiogrp {
			fsl,pins = <
				MX8MM_IOMUXC_UART4_TXD_GPIO5_IO29			0x00149
				MX8MM_IOMUXC_UART4_RXD_GPIO5_IO28			0x00149
			>;
		};
#endif

#ifdef CONFIG_PICOCOREMX8MX_UART_D
		pinctrl_uart3: uart3grp {
			fsl,pins = <
				MX8MM_IOMUXC_UART3_TXD_UART3_DCE_TX			0x00049
				MX8MM_IOMUXC_UART3_RXD_UART3_DCE_RX			0x00049
			>;
		};

		pinctrl_uart3_gpio: uart3gpiogrp {
			fsl,pins = <
				MX8MM_IOMUXC_UART3_TXD_GPIO5_IO27			0x00149
				MX8MM_IOMUXC_UART3_RXD_GPIO5_IO26			0x00149
			>;
		};
#endif

#ifdef CONFIG_PICOCOREMX8MX_SD_A
		pinctrl_usdhc1_gpio: usdhc1grpgpio {
			fsl,pins = <
#ifdef CONFIG_PICOCOREMX8MX_SD_A_CD
				MX8MM_IOMUXC_GPIO1_IO06_GPIO1_IO6	0x00041
#endif
#ifdef CONFIG_PICOCOREMX8MX_SD_A_WP
				MX8MM_IOMUXC_GPIO1_IO07_GPIO1_IO7	0x00041
#endif
				MX8MM_IOMUXC_SD1_RESET_B_GPIO2_IO10	0x00041
			>;
		};

		pinctrl_usdhc1: usdhc1grp {
			fsl,pins = <
				MX8MM_IOMUXC_SD1_CLK_USDHC1_CLK		0x00190
				MX8MM_IOMUXC_SD1_CMD_USDHC1_CMD		0x001d0
				MX8MM_IOMUXC_SD1_DATA0_USDHC1_DATA0	0x001d0
				MX8MM_IOMUXC_SD1_DATA1_USDHC1_DATA1	0x001d0
				MX8MM_IOMUXC_SD1_DATA2_USDHC1_DATA2	0x001d0
				MX8MM_IOMUXC_SD1_DATA3_USDHC1_DATA3	0x001d0
				MX8MM_IOMUXC_GPIO1_IO03_USDHC1_VSELECT	0x001d0
			>;
		};

		pinctrl_usdhc1_100mhz: usdhc1grp100mhz {
			fsl,pins = <
				MX8MM_IOMUXC_SD1_CLK_USDHC1_CLK		0x00194
				MX8MM_IOMUXC_SD1_CMD_USDHC1_CMD		0x001d4
				MX8MM_IOMUXC_SD1_DATA0_USDHC1_DATA0	0x001d4
				MX8MM_IOMUXC_SD1_DATA1_USDHC1_DATA1	0x001d4
				MX8MM_IOMUXC_SD1_DATA2_USDHC1_DATA2	0x001d4
				MX8MM_IOMUXC_SD1_DATA3_USDHC1_DATA3	0x001d4
				MX8MM_IOMUXC_GPIO1_IO03_USDHC1_VSELECT	0x001d0
			>;
		};

		pinctrl_usdhc1_200mhz: usdhc1grp200mhz {
			fsl,pins = <
				MX8MM_IOMUXC_SD1_CLK_USDHC1_CLK		0x00196
				MX8MM_IOMUXC_SD1_CMD_USDHC1_CMD		0x001d6
				MX8MM_IOMUXC_SD1_DATA0_USDHC1_DATA0	0x001d6
				MX8MM_IOMUXC_SD1_DATA1_USDHC1_DATA1	0x001d6
				MX8MM_IOMUXC_SD1_DATA2_USDHC1_DATA2	0x001d6
				MX8MM_IOMUXC_SD1_DATA3_USDHC1_DATA3	0x001d6
				MX8MM_IOMUXC_GPIO1_IO03_USDHC1_VSELECT	0x001d0
			>;
		};

		pinctrl_usdhc1_testgpio: usdhc1testgpiogrp {
			fsl,pins = <
				MX8MM_IOMUXC_SD1_CMD_GPIO2_IO1				0x001d0
				MX8MM_IOMUXC_SD1_CLK_GPIO2_IO0				0x001d0
				MX8MM_IOMUXC_GPIO1_IO06_GPIO1_IO6			0x001d0
				MX8MM_IOMUXC_SD1_RESET_B_GPIO2_IO10			0x001d0
				MX8MM_IOMUXC_GPIO1_IO07_GPIO1_IO7			0x001d0
				MX8MM_IOMUXC_SD2_WP_GPIO2_IO20				0x001d0
				MX8MM_IOMUXC_SD1_DATA0_GPIO2_IO2			0x001d0
				MX8MM_IOMUXC_SD1_DATA1_GPIO2_IO3			0x001d0
				MX8MM_IOMUXC_SD1_DATA2_GPIO2_IO4			0x001d0
				MX8MM_IOMUXC_SD1_DATA3_GPIO2_IO5			0x001d0
				MX8MM_IOMUXC_SD1_DATA4_GPIO2_IO6			0x001d0
				MX8MM_IOMUXC_SD1_DATA5_GPIO2_IO7			0x001d0
				MX8MM_IOMUXC_SD1_DATA6_GPIO2_IO8			0x001d0
				MX8MM_IOMUXC_SD1_DATA7_GPIO2_IO9			0x001d0
			>;
		};
#endif

#ifdef CONFIG_PICOCOREMX8MX_SD_B
		pinctrl_usdhc2_gpio: usdhc2grpgpio {
			fsl,pins = <
#ifdef CONFIG_PICOCOREMX8MX_SD_B_CD
				MX8MM_IOMUXC_SD2_CD_B_GPIO2_IO12	0x00041
#endif
#ifdef CONFIG_PICOCOREMX8MX_SD_B_WP
				MX8MM_IOMUXC_SD2_WP_GPIO2_IO20		0x00041
#endif
				MX8MM_IOMUXC_SD2_RESET_B_GPIO2_IO19	0x00041
			>;
		};

		pinctrl_usdhc2: usdhc2grp {
			fsl,pins = <
				MX8MM_IOMUXC_SD2_CLK_USDHC2_CLK		0x00190
				MX8MM_IOMUXC_SD2_CMD_USDHC2_CMD		0x001d0
				MX8MM_IOMUXC_SD2_DATA0_USDHC2_DATA0	0x001d0
				MX8MM_IOMUXC_SD2_DATA1_USDHC2_DATA1	0x001d0
				MX8MM_IOMUXC_SD2_DATA2_USDHC2_DATA2	0x001d0
				MX8MM_IOMUXC_SD2_DATA3_USDHC2_DATA3	0x001d0
				MX8MM_IOMUXC_GPIO1_IO04_USDHC2_VSELECT	0x001d0
			>;
		};

		pinctrl_usdhc2_100mhz: usdhc2grp100mhz {
			fsl,pins = <
				MX8MM_IOMUXC_SD2_CLK_USDHC2_CLK		0x00194
				MX8MM_IOMUXC_SD2_CMD_USDHC2_CMD		0x001d4
				MX8MM_IOMUXC_SD2_DATA0_USDHC2_DATA0	0x001d4
				MX8MM_IOMUXC_SD2_DATA1_USDHC2_DATA1	0x001d4
				MX8MM_IOMUXC_SD2_DATA2_USDHC2_DATA2	0x001d4
				MX8MM_IOMUXC_SD2_DATA3_USDHC2_DATA3	0x001d4
				MX8MM_IOMUXC_GPIO1_IO04_USDHC2_VSELECT	0x001d0
			>;
		};

		pinctrl_usdhc2_200mhz: usdhc2grp200mhz {
			fsl,pins = <
				MX8MM_IOMUXC_SD2_CLK_USDHC2_CLK		0x00196
				MX8MM_IOMUXC_SD2_CMD_USDHC2_CMD		0x001d6
				MX8MM_IOMUXC_SD2_DATA0_USDHC2_DATA0	0x001d6
				MX8MM_IOMUXC_SD2_DATA1_USDHC2_DATA1	0x001d6
				MX8MM_IOMUXC_SD2_DATA2_USDHC2_DATA2	0x001d6
				MX8MM_IOMUXC_SD2_DATA3_USDHC2_DATA3	0x001d6
				MX8MM_IOMUXC_GPIO1_IO04_USDHC2_VSELECT	0x001d0
			>;
		};

		pinctrl_usdhc2_testgpio: usdhc2testgpiogrp {
			fsl,pins = <
				MX8MM_IOMUXC_SD2_CLK_GPIO2_IO13				0x00190
				MX8MM_IOMUXC_SD2_CMD_GPIO2_IO14				0x001d0
				MX8MM_IOMUXC_SD2_DATA0_GPIO2_IO15			0x001d0
				MX8MM_IOMUXC_SD2_DATA1_GPIO2_IO16			0x001d0
				MX8MM_IOMUXC_SD2_DATA2_GPIO2_IO17			0x001d0
				MX8MM_IOMUXC_SD2_DATA3_GPIO2_IO18			0x001d0
				MX8MM_IOMUXC_SD2_RESET_B_GPIO2_IO19			0x001d0
				MX8MM_IOMUXC_SD2_CD_B_GPIO2_IO12			0x001d0
			>;
		};
#endif

		pinctrl_usdhc3: usdhc3grp {
			fsl,pins = <
				MX8MM_IOMUXC_NAND_WE_B_USDHC3_CLK	0x40000190
				MX8MM_IOMUXC_NAND_WP_B_USDHC3_CMD	0x001d0
				MX8MM_IOMUXC_NAND_DATA04_USDHC3_DATA0	0x001d0
				MX8MM_IOMUXC_NAND_DATA05_USDHC3_DATA1	0x001d0
				MX8MM_IOMUXC_NAND_DATA06_USDHC3_DATA2	0x001d0
				MX8MM_IOMUXC_NAND_DATA07_USDHC3_DATA3	0x001d0
				MX8MM_IOMUXC_NAND_RE_B_USDHC3_DATA4	0x001d0
				MX8MM_IOMUXC_NAND_CE2_B_USDHC3_DATA5	0x001d0
				MX8MM_IOMUXC_NAND_CE3_B_USDHC3_DATA6	0x001d0
				MX8MM_IOMUXC_NAND_CLE_USDHC3_DATA7	0x001d0
				MX8MM_IOMUXC_NAND_CE1_B_USDHC3_STROBE 	0x00190
				MX8MM_IOMUXC_NAND_READY_B_USDHC3_RESET_B	0x00190
			>;
		};

		pinctrl_usdhc3_100mhz: usdhc3grp100mhz {
			fsl,pins = <
				MX8MM_IOMUXC_NAND_WE_B_USDHC3_CLK	0x40000194
				MX8MM_IOMUXC_NAND_WP_B_USDHC3_CMD	0x001d4
				MX8MM_IOMUXC_NAND_DATA04_USDHC3_DATA0	0x001d4
				MX8MM_IOMUXC_NAND_DATA05_USDHC3_DATA1	0x001d4
				MX8MM_IOMUXC_NAND_DATA06_USDHC3_DATA2	0x001d4
				MX8MM_IOMUXC_NAND_DATA07_USDHC3_DATA3	0x001d4
				MX8MM_IOMUXC_NAND_RE_B_USDHC3_DATA4	0x001d4
				MX8MM_IOMUXC_NAND_CE2_B_USDHC3_DATA5	0x001d4
				MX8MM_IOMUXC_NAND_CE3_B_USDHC3_DATA6	0x001d4
				MX8MM_IOMUXC_NAND_CLE_USDHC3_DATA7	0x001d4
				MX8MM_IOMUXC_NAND_CE1_B_USDHC3_STROBE 	0x00194
				MX8MM_IOMUXC_NAND_READY_B_USDHC3_RESET_B	0x001d4
			>;
		};

		pinctrl_usdhc3_200mhz: usdhc3grp200mhz {
			fsl,pins = <
				MX8MM_IOMUXC_NAND_WE_B_USDHC3_CLK	0x40000196
				MX8MM_IOMUXC_NAND_WP_B_USDHC3_CMD	0x001d6
				MX8MM_IOMUXC_NAND_DATA04_USDHC3_DATA0	0x001d6
				MX8MM_IOMUXC_NAND_DATA05_USDHC3_DATA1	0x001d6
				MX8MM_IOMUXC_NAND_DATA06_USDHC3_DATA2	0x001d6
				MX8MM_IOMUXC_NAND_DATA07_USDHC3_DATA3	0x001d6
				MX8MM_IOMUXC_NAND_RE_B_USDHC3_DATA4	0x001d6
				MX8MM_IOMUXC_NAND_CE2_B_USDHC3_DATA5	0x001d6
				MX8MM_IOMUXC_NAND_CE3_B_USDHC3_DATA6	0x001d6
				MX8MM_IOMUXC_NAND_CLE_USDHC3_DATA7	0x001d6
				MX8MM_IOMUXC_NAND_CE1_B_USDHC3_STROBE 	0x00196
				MX8MM_IOMUXC_NAND_READY_B_USDHC3_RESET_B	0x001d6
			>;
		};

		pinctrl_wdog: wdoggrp {
			fsl,pins = <
				MX8MM_IOMUXC_GPIO1_IO02_WDOG1_WDOG_B	0x000c6
			>;
		};

		pinctrl_sgtl5000: sgtl5000grp {
			fsl,pins = <
				MX8MM_IOMUXC_SAI5_MCLK_SAI5_MCLK			0x000d6
				MX8MM_IOMUXC_SAI5_RXD1_SAI5_TX_SYNC			0x000d6
				MX8MM_IOMUXC_SAI5_RXD2_SAI5_TX_BCLK			0x000d6
				MX8MM_IOMUXC_SAI5_RXD3_SAI5_TX_DATA0		0x000d6
				MX8MM_IOMUXC_SAI5_RXD0_SAI5_RX_DATA0		0x000d6
			>;
		};

		pinctrl_sgtl5000_gpio: sgtl5000gpiogrp {
			fsl,pins = <
				/* AUDIO_A_LOUT_L -> AUDIO_A_LIN_L */
				MX8MM_IOMUXC_SAI5_RXD2_GPIO3_IO23		0x000d6 /* AUDIO_A_LOUT_L */
				MX8MM_IOMUXC_SAI5_MCLK_GPIO3_IO25		0x000d6 /* AUDIO_A_LIN_L */
				/* AUDIO_A_HP_L -> AUDIO_A_HP_R */
				MX8MM_IOMUXC_SAI5_RXD3_GPIO3_IO24		0x000d6 /* AUDIO_A_HP_L */
				MX8MM_IOMUXC_SAI5_RXD0_GPIO3_IO21		0x000d6 /* AUDIO_A_HP_R */
			>;
		};

		pinctrl_usbotg1: usbotg1grp {
			fsl,pins = <
				#ifdef CONFIG_USB_OTG_PWR
				MX8MM_IOMUXC_GPIO1_IO12_GPIO1_IO12	0x00014
				#else
				MX8MM_IOMUXC_GPIO1_IO12_USB1_OTG_PWR	0x00014
				#endif
			>;
		};

		pinctrl_usbotg2: usbotg2grp {
			fsl,pins = <
				#ifdef CONFIG_USB_HOST_PWR
				MX8MM_IOMUXC_GPIO1_IO14_GPIO1_IO14	0x00014
				#else
				MX8MM_IOMUXC_GPIO1_IO14_USB2_OTG_PWR	0x00014
				#endif
			>;
		};
	};
};
